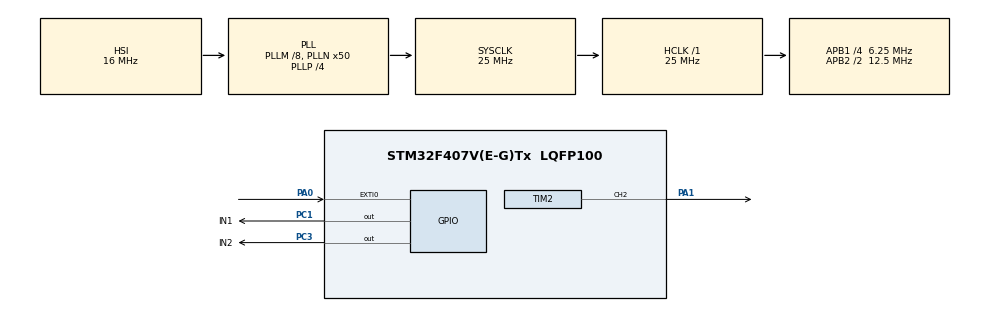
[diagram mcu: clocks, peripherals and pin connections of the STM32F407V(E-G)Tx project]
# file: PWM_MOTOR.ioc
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Mcu.Family=STM32F4
Mcu.Name=STM32F407V(E-G)Tx
Mcu.Package=LQFP100
NVIC.EXTI0_IRQn=true\:0\:0\:false\:false\:true\:true\:true\:true
NVIC.PriorityGroup=NVIC_PRIORITYGROUP_0
PA0-WKUP.GPIO_ModeDefaultEXTI=GPIO_MODE_IT_RISING
PA0-WKUP.GPIO_PuPd=GPIO_PULLDOWN
PA0-WKUP.Signal=GPXTI0
PA1.Signal=S_TIM2_CH2
PC1.GPIO_Label=IN1
PC1.Signal=GPIO_Output
PC3.GPIO_Label=IN2
PC3.Signal=GPIO_Output
PH0-OSC_IN.Mode=HSE-External-Oscillator
PH0-OSC_IN.Signal=RCC_OSC_IN
PH1-OSC_OUT.Mode=HSE-External-Oscillator
PH1-OSC_OUT.Signal=RCC_OSC_OUT
ProjectManager.HeapSize=0x200
ProjectManager.StackSize=0x400
ProjectManager.TargetToolchain=STM32CubeIDE
RCC.48MHZClocksFreq_Value=14285714.285714285
RCC.AHBFreq_Value=25000000
RCC.APB1CLKDivider=RCC_HCLK_DIV4
RCC.APB1Freq_Value=6250000
RCC.APB1TimFreq_Value=12500000
RCC.APB2CLKDivider=RCC_HCLK_DIV2
RCC.APB2Freq_Value=12500000
RCC.APB2TimFreq_Value=25000000
RCC.CortexFreq_Value=25000000
RCC.HCLKFreq_Value=25000000
RCC.HSE_VALUE=8000000
RCC.HSI_VALUE=16000000
RCC.LSE_VALUE=32768
RCC.PLLM=8
RCC.PLLN=50
RCC.PLLP=RCC_PLLP_DIV4
RCC.PLLQ=7
RCC.SYSCLKFreq_VALUE=25000000
RCC.SYSCLKSource=RCC_SYSCLKSOURCE_PLLCLK
RCC.VCOOutputFreq_Value=100000000
SH.S_TIM2_CH2.0=TIM2_CH2,PWM Generation2 CH2
TIM2.Channel-PWM\ Generation2\ CH2=TIM_CHANNEL_2
TIM2.Period=49
TIM2.Prescaler=12
VP_TIM2_VS_ClockSourceINT.Mode=Internal
board=STM32F407G-DISC1

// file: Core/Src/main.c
/* USER CODE BEGIN Header */
/**
  ******************************************************************************
  * @file           : main.c
  * @brief          : Main program body
  ******************************************************************************
  * @attention
  *
  * Copyright (c) 2025 STMicroelectronics.
  * All rights reserved.
  *
  * This software is licensed under terms that can be found in the LICENSE file
  * in the root directory of this software component.
  * If no LICENSE file comes with this software, it is provided AS-IS.
  *
  ******************************************************************************
  */
/* USER CODE END Header */
#include "main.h"

/* USER CODE BEGIN Includes */
#include <string.h>

/* USER CODE END Includes */

/* USER CODE BEGIN PD */

#define ARR 95

/* USER CODE END PD */

TIM_HandleTypeDef htim2;

void SystemClock_Config(void);
static void MX_GPIO_Init(void);
static void MX_TIM2_Init(void);
/* USER CODE BEGIN PFP */
void goForward();
void goBackward();

void motorSetSpeed(uint16_t speed);
void motorStart();
void motorStop();
void motorSetSpeed(uint16_t speed);
void motorInit(uint16_t speed, char *direction);

/* USER CODE END PFP */

/* USER CODE BEGIN 0 */
volatile uint8_t motor_running = 0;

/* USER CODE END 0 */

int main(void)
{

  /* MCU Configuration--------------------------------------------------------*/

  /* Reset of all peripherals, Initializes the Flash interface and the Systick. */
  HAL_Init();

  /* Configure the system clock */
  SystemClock_Config();

  /* Initialize all configured peripherals */
  MX_GPIO_Init();
  MX_TIM2_Init();
  /* USER CODE BEGIN 2 */
  motorInit(50, "forward");
  /* USER CODE END 2 */

  /* Infinite loop */
  while (1)
  {

  }
}

void SystemClock_Config(void)
{
  RCC_OscInitTypeDef RCC_OscInitStruct = {0};
  RCC_ClkInitTypeDef RCC_ClkInitStruct = {0};

  /** Configure the main internal regulator output voltage
  */
  __HAL_RCC_PWR_CLK_ENABLE();
  __HAL_PWR_VOLTAGESCALING_CONFIG(PWR_REGULATOR_VOLTAGE_SCALE1);

  /** Initializes the RCC Oscillators according to the specified parameters
  * in the RCC_OscInitTypeDef structure.
  */
  RCC_OscInitStruct.OscillatorType = RCC_OSCILLATORTYPE_HSI;
  RCC_OscInitStruct.HSIState = RCC_HSI_ON;
  RCC_OscInitStruct.HSICalibrationValue = RCC_HSICALIBRATION_DEFAULT;
  RCC_OscInitStruct.PLL.PLLState = RCC_PLL_ON;
  RCC_OscInitStruct.PLL.PLLSource = RCC_PLLSOURCE_HSI;
  RCC_OscInitStruct.PLL.PLLM = 8;
  RCC_OscInitStruct.PLL.PLLN = 50;
  RCC_OscInitStruct.PLL.PLLP = RCC_PLLP_DIV4;
  RCC_OscInitStruct.PLL.PLLQ = 7;
  if (HAL_RCC_OscConfig(&RCC_OscInitStruct) != HAL_OK)
  {
    Error_Handler();
  }

  /** Initializes the CPU, AHB and APB buses clocks
  */
  RCC_ClkInitStruct.ClockType = RCC_CLOCKTYPE_HCLK|RCC_CLOCKTYPE_SYSCLK
                              |RCC_CLOCKTYPE_PCLK1|RCC_CLOCKTYPE_PCLK2;
  RCC_ClkInitStruct.SYSCLKSource = RCC_SYSCLKSOURCE_PLLCLK;
  RCC_ClkInitStruct.AHBCLKDivider = RCC_SYSCLK_DIV1;
  RCC_ClkInitStruct.APB1CLKDivider = RCC_HCLK_DIV4;
  RCC_ClkInitStruct.APB2CLKDivider = RCC_HCLK_DIV2;

  if (HAL_RCC_ClockConfig(&RCC_ClkInitStruct, FLASH_LATENCY_0) != HAL_OK)
  {
    Error_Handler();
  }
}

static void MX_TIM2_Init(void)
{

  TIM_ClockConfigTypeDef sClockSourceConfig = {0};
  TIM_MasterConfigTypeDef sMasterConfig = {0};
  TIM_OC_InitTypeDef sConfigOC = {0};

  htim2.Instance = TIM2;
  htim2.Init.Prescaler = 12;
  htim2.Init.CounterMode = TIM_COUNTERMODE_UP;
  htim2.Init.Period = 49;
  htim2.Init.ClockDivision = TIM_CLOCKDIVISION_DIV1;
  htim2.Init.AutoReloadPreload = TIM_AUTORELOAD_PRELOAD_DISABLE;
  if (HAL_TIM_Base_Init(&htim2) != HAL_OK)
  {
    Error_Handler();
  }
  sClockSourceConfig.ClockSource = TIM_CLOCKSOURCE_INTERNAL;
  if (HAL_TIM_ConfigClockSource(&htim2, &sClockSourceConfig) != HAL_OK)
  {
    Error_Handler();
  }
  if (HAL_TIM_PWM_Init(&htim2) != HAL_OK)
  {
    Error_Handler();
  }
  sMasterConfig.MasterOutputTrigger = TIM_TRGO_RESET;
  sMasterConfig.MasterSlaveMode = TIM_MASTERSLAVEMODE_DISABLE;
  if (HAL_TIMEx_MasterConfigSynchronization(&htim2, &sMasterConfig) != HAL_OK)
  {
    Error_Handler();
  }
  sConfigOC.OCMode = TIM_OCMODE_PWM1;
  sConfigOC.Pulse = 0;
  sConfigOC.OCPolarity = TIM_OCPOLARITY_HIGH;
  sConfigOC.OCFastMode = TIM_OCFAST_DISABLE;
  if (HAL_TIM_PWM_ConfigChannel(&htim2, &sConfigOC, TIM_CHANNEL_2) != HAL_OK)
  {
    Error_Handler();
  }
  HAL_TIM_MspPostInit(&htim2);

}

static void MX_GPIO_Init(void)
{
  GPIO_InitTypeDef GPIO_InitStruct = {0};

  /* GPIO Ports Clock Enable */
  __HAL_RCC_GPIOH_CLK_ENABLE();
  __HAL_RCC_GPIOC_CLK_ENABLE();
  __HAL_RCC_GPIOA_CLK_ENABLE();

  /*Configure GPIO pin Output Level */
  HAL_GPIO_WritePin(GPIOC, IN1_Pin|IN2_Pin, GPIO_PIN_RESET);

  /*Configure GPIO pins : IN1_Pin IN2_Pin */
  GPIO_InitStruct.Pin = IN1_Pin|IN2_Pin;
  GPIO_InitStruct.Mode = GPIO_MODE_OUTPUT_PP;
  GPIO_InitStruct.Pull = GPIO_NOPULL;
  GPIO_InitStruct.Speed = GPIO_SPEED_FREQ_LOW;
  HAL_GPIO_Init(GPIOC, &GPIO_InitStruct);

  /*Configure GPIO pin : PA0 */
  GPIO_InitStruct.Pin = GPIO_PIN_0;
  GPIO_InitStruct.Mode = GPIO_MODE_IT_RISING;
  GPIO_InitStruct.Pull = GPIO_PULLDOWN;
  HAL_GPIO_Init(GPIOA, &GPIO_InitStruct);

  /* EXTI interrupt init*/
  HAL_NVIC_SetPriority(EXTI0_IRQn, 0, 0);
  HAL_NVIC_EnableIRQ(EXTI0_IRQn);

}

/* USER CODE BEGIN 4 */

void motorInit(uint16_t speed, char *direction){
	motorStop();
	motorSetSpeed(speed);

	if(strcmp(direction, "forward") == 0){
		goForward();
	}
	else{
		goBackward();
	}
}

void HAL_GPIO_EXTI_Callback(uint16_t GPIO_Pin)
{
	 if (GPIO_Pin == GPIO_PIN_0)  // assuming PA0
	    {
	        // Toggle motor state
	        motor_running = !motor_running;

	        if (motor_running)
	            motorStart();
	        else
	            motorStop();
	    }
}
void motorStart(){
	__HAL_TIM_SET_COUNTER(&htim2, 0);
	HAL_TIM_PWM_Start(&htim2, TIM_CHANNEL_2);

}

void motorStop(){
	HAL_TIM_PWM_Stop(&htim2, TIM_CHANNEL_2);
}

void motorSetSpeed(uint16_t percent) {
    if (percent > 100) percent = 100;
    uint16_t pulse = (ARR * percent) / 100;
    __HAL_TIM_SET_COMPARE(&htim2, TIM_CHANNEL_2, pulse);
}
void goForward(){
	  HAL_GPIO_WritePin(GPIOC, IN1_Pin, GPIO_PIN_SET);
	  HAL_GPIO_WritePin(GPIOC, IN2_Pin, GPIO_PIN_RESET);
}

void goBackward(){

	  HAL_GPIO_WritePin(GPIOC, IN2_Pin, GPIO_PIN_SET);
	  HAL_GPIO_WritePin(GPIOC, IN1_Pin, GPIO_PIN_RESET);
}

/* USER CODE END 4 */

void Error_Handler(void)
{
  __disable_irq();
  while (1)
  {
  }
}
